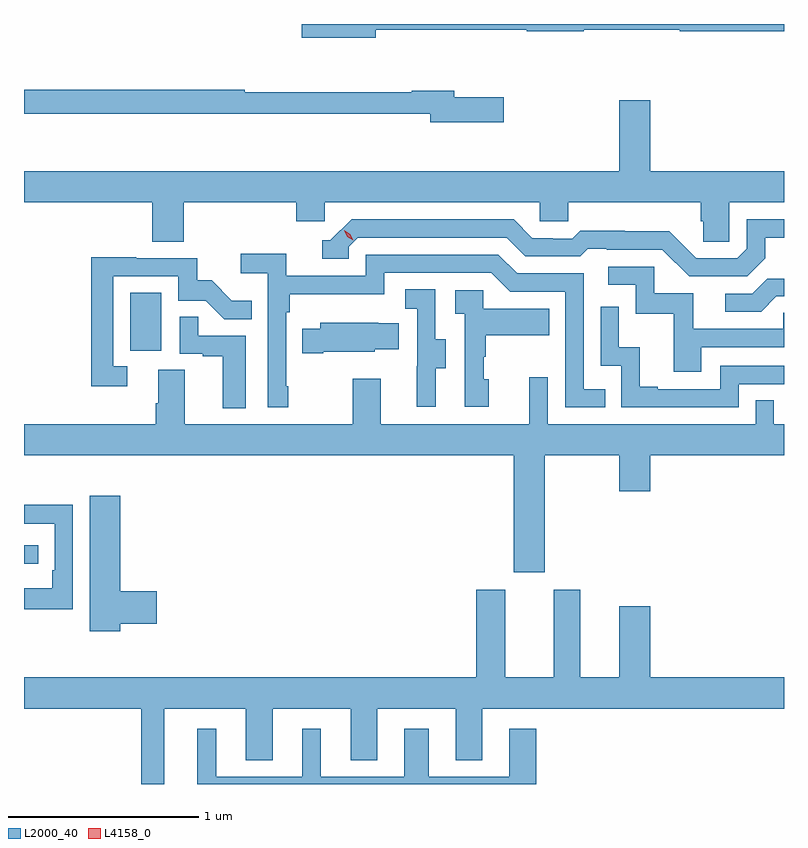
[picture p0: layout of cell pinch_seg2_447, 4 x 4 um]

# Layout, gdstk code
import gdstk
lib = gdstk.Library(unit=1e-6, precision=1e-09)
def R(c, l, rs):  # rectangles x0, y0, x1, y1
    for r in rs: c.add(gdstk.rectangle(r[:2], r[2:], *l))
def P(c, l, *ps):  # polygons
    for p in ps: c.add(gdstk.Polygon(p, *l))
L2000_40 = (2000, 40)
L4158_0 = (4158, 0)

pinch_seg2_447 = lib.new_cell('pinch_seg2_447')
R(pinch_seg2_447, L2000_40, [(929.107,605.775,929.182,605.871), (929.666,606.894,929.83,607.201)])
P(pinch_seg2_447, L2000_40, [(930.958,608.586),(931.754,608.586),(931.754,608.578),(932.054,608.578),(932.054,608.586),(932.559,608.586),(932.559,608.578),(933.107,608.578),(933.107,608.615),(930.57,608.615),(930.57,608.543),(930.958,608.543)],
  [(931.633,608.229),(931.372,608.229),(931.372,608.263),(931.148,608.263),(931.148,608.255),(930.268,608.255),(930.268,608.27),(929.107,608.27),(929.107,608.142),(931.244,608.142),(931.244,608.099),(931.633,608.099)],
  [(929.948,607.676),(930.539,607.676),(930.539,607.578),(930.69,607.578),(930.69,607.676),(931.821,607.676),(931.821,607.578),(931.971,607.578),(931.971,607.676),(932.669,607.676),(932.669,607.578),(932.683,607.578),(932.683,607.468),(932.82,607.468),(932.82,607.676),(933.107,607.676),(933.107,607.84),(932.404,607.84),(932.404,608.215),(932.24,608.215),(932.24,607.84),(929.107,607.84),(929.107,607.676),(929.783,607.676),(929.783,607.468),(929.948,607.468)],
  [(933.007,607.381),(933.007,607.491),(933.107,607.491),(933.107,607.587),(932.91,607.587),(932.91,607.431),(932.862,607.383),(932.646,607.383),(932.504,607.525),(932.268,607.525),(932.268,607.528),(932.035,607.528),(931.993,607.485),(931.89,607.485),(931.89,607.488),(931.783,607.488),(931.684,607.587),(930.831,607.587),(930.72,607.476),(930.677,607.476),(930.677,607.38),(930.816,607.38),(930.816,607.443),(930.864,607.491),(931.647,607.491),(931.746,607.392),(932.035,607.392),(932.074,607.431),(932.173,607.431),(932.173,607.428),(932.466,607.428),(932.607,607.287),(932.913,607.287)],
  [(930.499,606.709),(930.486,606.709),(930.486,607.097),(930.506,607.097),(930.506,607.193),(931.002,607.193),(931.002,607.305),(931.566,607.305),(931.665,607.206),(931.956,607.206),(931.956,606.597),(932.165,606.597),(932.165,606.693),(932.052,606.693),(932.052,607.302),(931.702,607.302),(931.603,607.401),(930.906,607.401),(930.906,607.29),(930.488,607.29),(930.488,607.406),(930.249,607.406),(930.249,607.304),(930.39,607.304),(930.39,606.597),(930.499,606.597)],
  [(929.65,606.813),(929.577,606.813),(929.577,607.287),(929.919,607.287),(929.919,607.158),(930.064,607.158),(930.162,607.06),(930.305,607.06),(930.305,607.159),(930.201,607.159),(930.094,607.266),(930.018,607.266),(930.018,607.383),(929.699,607.383),(929.699,607.388),(929.461,607.388),(929.461,606.708),(929.65,606.708)],
  [(932.671,606.915),(933.107,606.915),(933.107,607.095),(933.103,607.095),(933.103,607.011),(932.629,607.011),(932.629,607.197),(932.424,607.197),(932.424,607.338),(932.181,607.338),(932.181,607.242),(932.328,607.242),(932.328,607.089),(932.527,607.089),(932.527,606.786),(932.671,606.786)],
  [(933.067,607.182),(933.107,607.182),(933.107,607.274),(933.02,607.274),(932.94,607.194),(932.799,607.194),(932.799,607.101),(932.986,607.101)],
  [(931.273,606.802),(931.327,606.802),(931.327,606.957),(931.272,606.957),(931.272,607.22),(931.113,607.22),(931.113,607.117),(931.176,607.117),(931.176,606.813),(931.175,606.813),(931.175,606.6),(931.273,606.6)],
  [(931.552,606.744),(931.527,606.744),(931.527,606.863),(931.537,606.863),(931.537,606.977),(931.871,606.977),(931.871,607.117),(931.524,607.117),(931.524,607.215),(931.377,607.215),(931.377,607.091),(931.428,607.091),(931.428,606.6),(931.552,606.6)],
  [(932.868,606.72),(933.107,606.72),(933.107,606.816),(932.772,606.816),(932.772,606.693),(932.443,606.693),(932.443,606.706),(932.348,606.706),(932.348,606.914),(932.238,606.914),(932.238,607.126),(932.142,607.126),(932.142,606.816),(932.25,606.816),(932.25,606.597),(932.868,606.597)],
  [(930.274,606.975),(930.023,606.975),(930.023,607.073),(929.928,607.073),(929.928,606.879),(930.049,606.879),(930.049,606.867),(930.152,606.867),(930.152,606.593),(930.274,606.593)],
  [(930.682,606.89),(930.954,606.89),(930.954,606.902),(931.079,606.902),(931.079,607.039),(930.971,607.039),(930.971,607.042),(930.665,607.042),(930.665,607.012),(930.571,607.012),(930.571,606.883),(930.682,606.883)],
  [(931.849,606.344),(932.24,606.344),(932.24,606.156),(932.404,606.156),(932.404,606.344),(933.107,606.344),(933.107,606.508),(933.054,606.508),(933.054,606.635),(932.958,606.635),(932.958,606.508),(931.863,606.508),(931.863,606.757),(931.766,606.757),(931.766,606.508),(930.985,606.508),(930.985,606.748),(930.838,606.748),(930.838,606.508),(929.953,606.508),(929.953,606.794),(929.813,606.794),(929.813,606.62),(929.801,606.62),(929.801,606.508),(929.107,606.508),(929.107,606.344),(931.685,606.344),(931.685,605.73),(931.849,605.73)],
  [(929.614,605.459),(929.806,605.459),(929.806,605.63),(929.614,605.63),(929.614,606.133),(929.453,606.133),(929.453,605.42),(929.614,605.42)],
  [(929.364,606.086),(929.107,606.086),(929.107,605.985),(929.268,605.985),(929.268,605.74),(929.255,605.74),(929.255,605.644),(929.107,605.644),(929.107,605.535),(929.364,605.535)],
  [(929.845,605.012),(930.275,605.012),(930.275,604.739),(930.415,604.739),(930.415,605.012),(930.827,605.012),(930.827,604.739),(930.967,604.739),(930.967,605.012),(931.379,605.012),(931.379,604.739),(931.519,604.739),(931.519,605.012),(933.107,605.012),(933.107,605.176),(932.404,605.176),(932.404,605.551),(932.24,605.551),(932.24,605.176),(932.035,605.176),(932.035,605.638),(931.895,605.638),(931.895,605.176),(931.639,605.176),(931.639,605.638),(931.487,605.638),(931.487,605.176),(929.107,605.176),(929.107,605.012),(929.724,605.012),(929.724,604.615),(929.845,604.615)],
  [(931.802,604.906),(931.661,604.906),(931.661,604.654),(931.237,604.654),(931.237,604.906),(931.109,604.906),(931.109,604.654),(930.67,604.654),(930.67,604.906),(930.572,604.906),(930.572,604.654),(930.118,604.654),(930.118,604.906),(930.02,604.906),(930.02,604.615),(931.802,604.615)])
P(pinch_seg2_447, L4158_0, [(930.839,607.476),(930.809,607.496),(930.793,607.529),(930.793,607.53),(930.793,607.53),(930.824,607.509),(930.84,607.477),(930.84,607.476)])

lib.write_gds('pinch_seg2_447.gds')
